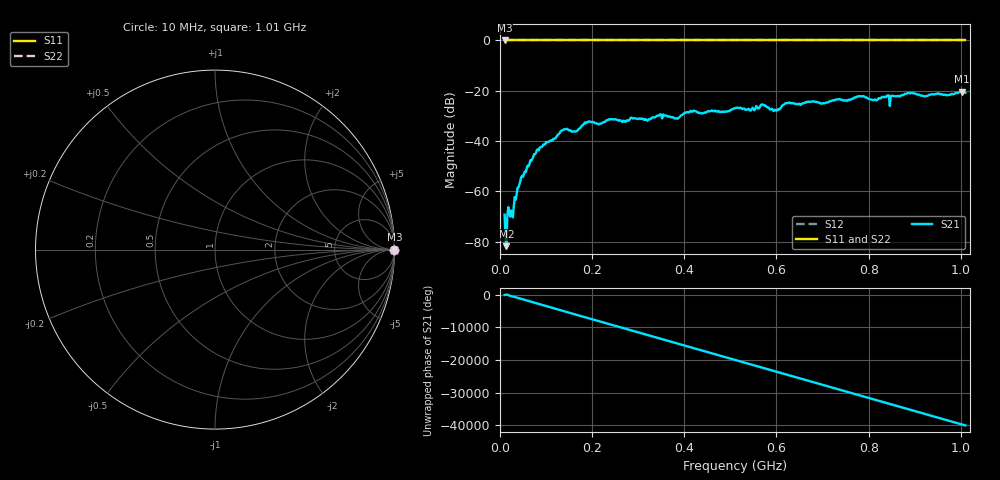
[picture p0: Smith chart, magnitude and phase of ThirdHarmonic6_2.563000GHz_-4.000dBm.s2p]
! 8/17/2025 5:18:48 AM
! C:\ANRITSUVNA\TEMP\TEMP.S2P
! CHANNEL.1
! TR.MEASUREMENT
! RAW.DATA
! RF.CORRECTION.OFF
! AVERAGING.OFF
! IF.BANDWIDTH: 5KHZ
! SWEEPTYPE:  FREQ.SWEEP(Linear)
! Reference Plane Port Info
! PORT:  PORT1  PORT2
! DISTANCE:  0  m  0  m
! TIME:  0  s  0  s
! PHASE.OFFSET:  0  deg.  0  deg.
! LOSS:  0  dB  0  dB
! REF.LOSS:  0  dB  0  dB
! REF.FREQ:  0  Hz  0  Hz
! Power Info
! POWER:  -20  dBm  -20  dBm
! EFF.POWER:  -20  dBm  -20  dBm
! SOURCE.ATTEN:  0  dB  0  dB
! TEST.ATTEN:  0  dB  0  dB
# GHZ S RI R 50.0
! FREQ.GHZ  S11RE  S11IM  S21RE  S21IM  S12RE  S12IM  S22RE  S22IM
!; PortSelection: Port_12
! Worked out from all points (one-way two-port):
!   501 points, 10 MHz to 1.01 GHz, reference 50 ohm
!   highest |S21| = -20.34 dB at 1.002 GHz (marker M1); lowest = -81.8 dB at 14 MHz (marker M2)
!   lowest |S11| = 0.0 dB at 10 MHz (marker M3)
!   |S11| at or under -10 dB: nowhere
!   |S22| runs from 0.0 to 0.0 dB; largest |S21 - S12| = 1.1
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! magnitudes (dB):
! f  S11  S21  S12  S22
! 10 MHz  0.0  -69.3  0.0  0.0
! 14 MHz  0.0  -81.8  0.0  0.0
! 20 MHz  0.0  -67.9  0.0  0.0
! 26 MHz  0.0  -68.1  0.0  0.0
! 44 MHz  0.0  -56.0  0.0  0.0
! 78 MHz  0.0  -44.8  0.0  0.0
! 136 MHz  0.0  -35.7  0.0  0.0
! 164 MHz  0.0  -36.2  0.0  0.0
! 178 MHz  0.0  -33.9  0.0  0.0
! 192 MHz  0.0  -32.2  0.0  0.0
! 344 MHz  0.0  -29.9  0.0  0.0
! 384 MHz  0.0  -31.0  0.0  0.0
! 416 MHz  0.0  -28.3  0.0  0.0
! 510 MHz  0.0  -26.9  0.0  0.0
! 548 MHz  0.0  -26.8  0.0  0.0
! 570 MHz  0.0  -25.5  0.0  0.0
! 598 MHz  0.0  -27.7  0.0  0.0
! 624 MHz  0.0  -24.9  0.0  0.0
! 678 MHz  0.0  -24.2  0.0  0.0
! 844 MHz  0.0  -21.9  0.0  0.0
! 1.002 GHz  0.0  -20.3  0.0  0.0
! 1.01 GHz  0.0  -20.9  0.0  0.0
